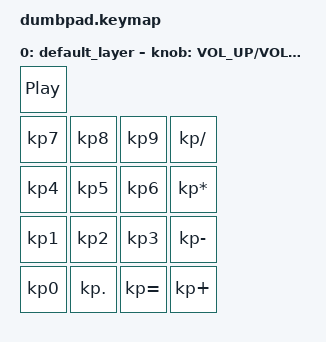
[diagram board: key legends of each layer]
/*
 * Copyright (c) 2022 The ZMK Contributors
 *
 * SPDX-License-Identifier: MIT
 */

#include <behaviors.dtsi>
#include <dt-bindings/zmk/bt.h>
#include <dt-bindings/zmk/ext_power.h>
#include <dt-bindings/zmk/keys.h>

/ {
    sensors {
        compatible = "zmk,keymap-sensors";
        sensors = <&left_encoder>;
        triggers-per-rotation = <15>;
    };

    behaviors {
        td: td {
            compatible = "zmk,behavior-tap-dance";
            label = "TD";
            #binding-cells = <0>;
            bindings = <&mo 1>, <&to 1>;
        };

        td_mul_div: td_mul_div {
            compatible = "zmk,behavior-tap-dance";
            label = "TD_MUL_DIV";
            #binding-cells = <0>;
            bindings = <&kp KP_MULTIPLY>, <&kp KP_DIVIDE>;
        };
    };

    combos {
        compatible = "zmk,combos";

        calculator {
            bindings = <&kp C_AL_CALC>;
            key-positions = <13 14>;
        };

        ext_off {
            bindings = <&ext_power EP_OFF>;
            key-positions = <4 0>;
        };
    };

    keymap {
        compatible = "zmk,keymap";

        default_layer {
            bindings = <
&kp C_PP
&kp KP_N7  &kp KP_N8  &kp KP_N9    &kp KP_DIVIDE
&kp KP_N4  &kp KP_N5  &kp KP_N6    &kp KP_MULTIPLY
&kp KP_N1  &kp KP_N2  &kp KP_N3    &kp KP_MINUS
&kp KP_N0  &kp KP_DOT &kp KP_EQUAL &kp KP_PLUS
            >;

            sensor-bindings = <&inc_dec_kp C_VOLUME_UP C_VOLUME_DOWN>;
        };
    };
};
